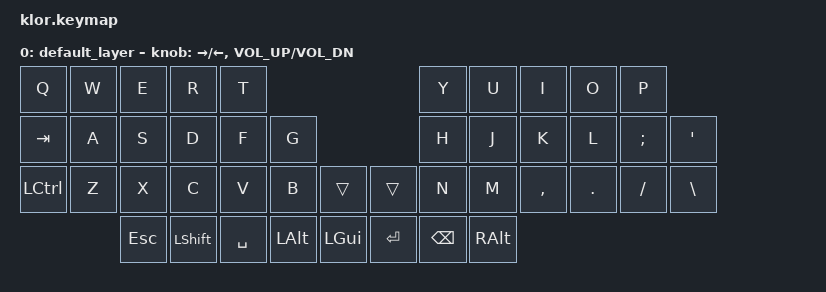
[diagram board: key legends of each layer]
#include <behaviors.dtsi>
#include <dt-bindings/zmk/keys.h>

/ {
    keymap {
        compatible = "zmk,keymap";

        default_layer {
            bindings = <
                &kp Q      &kp W      &kp E      &kp R      &kp T                                  &kp Y      &kp U      &kp I      &kp O      &kp P
                &kp TAB    &kp A      &kp S      &kp D      &kp F      &kp G                        &kp H      &kp J      &kp K      &kp L      &kp SEMI   &kp SQT
                &kp LCTRL  &kp Z      &kp X      &kp C      &kp V      &kp B      &trans  &trans    &kp N      &kp M      &kp COMMA  &kp DOT    &kp FSLH   &kp BSLH
                                      &kp ESC    &kp LSHFT  &kp SPACE  &kp LALT   &kp LGUI  &kp ENTER  &kp BSPC  &kp RALT
            >;

            sensor-bindings = <&inc_dec_kp RIGHT LEFT &inc_dec_kp C_VOL_UP C_VOL_DN>;
        };
    };
};
